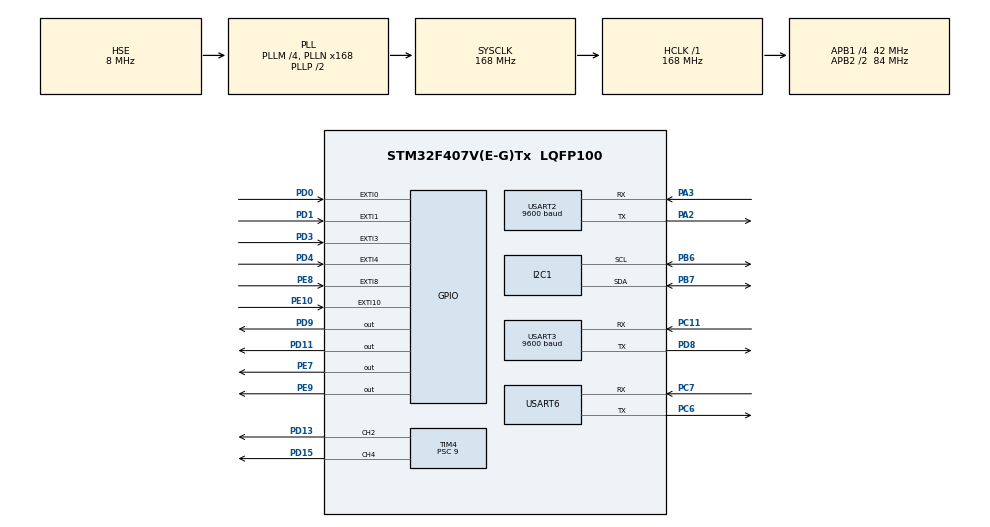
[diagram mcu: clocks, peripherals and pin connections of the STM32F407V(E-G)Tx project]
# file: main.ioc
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Dma.Request0=USART3_RX
Dma.Request1=USART2_RX
Dma.USART2_RX.1.Direction=DMA_PERIPH_TO_MEMORY
Dma.USART2_RX.1.FIFOMode=DMA_FIFOMODE_DISABLE
Dma.USART2_RX.1.Instance=DMA1_Stream5
Dma.USART2_RX.1.MemDataAlignment=DMA_MDATAALIGN_BYTE
Dma.USART2_RX.1.MemInc=DMA_MINC_ENABLE
Dma.USART2_RX.1.Mode=DMA_NORMAL
Dma.USART2_RX.1.PeriphDataAlignment=DMA_PDATAALIGN_BYTE
Dma.USART2_RX.1.PeriphInc=DMA_PINC_DISABLE
Dma.USART2_RX.1.Priority=DMA_PRIORITY_HIGH
Dma.USART3_RX.0.Direction=DMA_PERIPH_TO_MEMORY
Dma.USART3_RX.0.FIFOMode=DMA_FIFOMODE_DISABLE
Dma.USART3_RX.0.Instance=DMA1_Stream1
Dma.USART3_RX.0.MemDataAlignment=DMA_MDATAALIGN_BYTE
Dma.USART3_RX.0.MemInc=DMA_MINC_ENABLE
Dma.USART3_RX.0.Mode=DMA_NORMAL
Dma.USART3_RX.0.PeriphDataAlignment=DMA_PDATAALIGN_BYTE
Dma.USART3_RX.0.PeriphInc=DMA_PINC_DISABLE
Dma.USART3_RX.0.Priority=DMA_PRIORITY_HIGH
I2C1.I2C_Mode=I2C_Fast
Mcu.Family=STM32F4
Mcu.Name=STM32F407V(E-G)Tx
Mcu.Package=LQFP100
NVIC.DMA1_Stream1_IRQn=true\:0\:0\:false\:false\:true\:false
NVIC.DMA1_Stream5_IRQn=true\:0\:0\:false\:false\:true\:false
NVIC.EXTI0_IRQn=true\:1\:0\:true\:false\:true\:true
NVIC.EXTI15_10_IRQn=true\:0\:0\:false\:false\:true\:true
NVIC.EXTI1_IRQn=true\:1\:0\:true\:false\:true\:true
NVIC.EXTI3_IRQn=true\:1\:0\:true\:false\:true\:true
NVIC.EXTI4_IRQn=true\:1\:0\:true\:false\:true\:true
NVIC.EXTI9_5_IRQn=true\:0\:0\:false\:false\:true\:true
NVIC.PriorityGroup=NVIC_PRIORITYGROUP_4
NVIC.TIM2_IRQn=true\:0\:0\:false\:false\:true\:true
NVIC.TIM3_IRQn=true\:0\:0\:false\:false\:true\:true
NVIC.USART3_IRQn=true\:0\:0\:false\:false\:true\:true
PA2.Mode=Asynchronous
PA2.Signal=USART2_TX
PA3.Mode=Asynchronous
PA3.Signal=USART2_RX
PB6.Mode=I2C
PB6.Signal=I2C1_SCL
PB7.Mode=I2C
PB7.Signal=I2C1_SDA
PC11.Mode=Asynchronous
PC11.Signal=USART3_RX
PC6.Mode=Asynchronous
PC6.Signal=USART6_TX
PC7.Mode=Asynchronous
PC7.Signal=USART6_RX
PD0.GPIO_ModeDefaultEXTI=GPIO_MODE_IT_RISING_FALLING
PD0.Signal=GPXTI0
PD1.GPIO_ModeDefaultEXTI=GPIO_MODE_IT_RISING_FALLING
PD1.Signal=GPXTI1
PD11.Signal=GPIO_Output
PD13.Signal=S_TIM4_CH2
PD15.Signal=S_TIM4_CH4
PD3.GPIO_ModeDefaultEXTI=GPIO_MODE_IT_RISING_FALLING
PD3.Signal=GPXTI3
PD4.GPIO_ModeDefaultEXTI=GPIO_MODE_IT_RISING_FALLING
PD4.Signal=GPXTI4
PD8.Mode=Asynchronous
PD8.Signal=USART3_TX
PD9.Signal=GPIO_Output
PE10.GPIO_ModeDefaultEXTI=GPIO_MODE_IT_FALLING
PE10.Signal=GPXTI10
PE7.Signal=GPIO_Output
PE8.GPIO_ModeDefaultEXTI=GPIO_MODE_IT_FALLING
PE8.Signal=GPXTI8
PE9.Signal=GPIO_Output
PH0-OSC_IN.Mode=HSE-External-Oscillator
PH0-OSC_IN.Signal=RCC_OSC_IN
PH1-OSC_OUT.Mode=HSE-External-Oscillator
PH1-OSC_OUT.Signal=RCC_OSC_OUT
ProjectManager.HeapSize=0x200
ProjectManager.StackSize=0x400
ProjectManager.TargetToolchain=MDK-ARM V5
RCC.48MHZClocksFreq_Value=84000000
RCC.AHBFreq_Value=168000000
RCC.APB1CLKDivider=RCC_HCLK_DIV4
RCC.APB1Freq_Value=42000000
RCC.APB1TimFreq_Value=84000000
RCC.APB2CLKDivider=RCC_HCLK_DIV2
RCC.APB2Freq_Value=84000000
RCC.APB2TimFreq_Value=168000000
RCC.CortexFreq_Value=168000000
RCC.HCLKFreq_Value=168000000
RCC.HSE_VALUE=8000000
RCC.HSI_VALUE=16000000
RCC.LSE_VALUE=32768
RCC.PLLM=4
RCC.PLLN=168
RCC.PLLSourceVirtual=RCC_PLLSOURCE_HSE
RCC.SYSCLKFreq_VALUE=168000000
RCC.SYSCLKSource=RCC_SYSCLKSOURCE_PLLCLK
RCC.VCOOutputFreq_Value=336000000
SH.S_TIM4_CH2.0=TIM4_CH2,PWM Generation2 CH2
SH.S_TIM4_CH4.0=TIM4_CH4,PWM Generation4 CH4
TIM2.Period=19
TIM2.Prescaler=41999
TIM3.Period=7
TIM3.Prescaler=41999
TIM4.Channel-PWM\ Generation2\ CH2=TIM_CHANNEL_2
TIM4.Channel-PWM\ Generation4\ CH4=TIM_CHANNEL_4
TIM4.Period=419
TIM4.Prescaler=9
USART2.BaudRate=9600
USART2.VirtualMode=VM_ASYNC
USART3.BaudRate=9600
USART3.VirtualMode=VM_ASYNC
USART6.VirtualMode=VM_ASYNC
VP_TIM2_VS_ClockSourceINT.Mode=Internal
VP_TIM3_VS_ClockSourceINT.Mode=Internal
board=custom

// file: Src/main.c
/**
  ******************************************************************************
  * @file           : main.c
  * @brief          : Main program body
  ******************************************************************************
  ** This notice applies to any and all portions of this file
  * that are not between comment pairs USER CODE BEGIN and
  * USER CODE END. Other portions of this file, whether
  * inserted by the user or by software development tools
  * are owned by their respective copyright owners.
  *
  * COPYRIGHT(c) 2019 STMicroelectronics
  *
  * Redistribution and use in source and binary forms, with or without modification,
  * are permitted provided that the following conditions are met:
  *   1. Redistributions of source code must retain the above copyright notice,
  *      this list of conditions and the following disclaimer.
  *   2. Redistributions in binary form must reproduce the above copyright notice,
  *      this list of conditions and the following disclaimer in the documentation
  *      and/or other materials provided with the distribution.
  *   3. Neither the name of STMicroelectronics nor the names of its contributors
  *      may be used to endorse or promote products derived from this software
  *      without specific prior written permission.
  *
  * THIS SOFTWARE IS PROVIDED BY THE COPYRIGHT HOLDERS AND CONTRIBUTORS "AS IS"
  * AND ANY EXPRESS OR IMPLIED WARRANTIES, INCLUDING, BUT NOT LIMITED TO, THE
  * IMPLIED WARRANTIES OF MERCHANTABILITY AND FITNESS FOR A PARTICULAR PURPOSE ARE
  * DISCLAIMED. IN NO EVENT SHALL THE COPYRIGHT HOLDER OR CONTRIBUTORS BE LIABLE
  * FOR ANY DIRECT, INDIRECT, INCIDENTAL, SPECIAL, EXEMPLARY, OR CONSEQUENTIAL
  * DAMAGES (INCLUDING, BUT NOT LIMITED TO, PROCUREMENT OF SUBSTITUTE GOODS OR
  * SERVICES; LOSS OF USE, DATA, OR PROFITS; OR BUSINESS INTERRUPTION) HOWEVER
  * CAUSED AND ON ANY THEORY OF LIABILITY, WHETHER IN CONTRACT, STRICT LIABILITY,
  * OR TORT (INCLUDING NEGLIGENCE OR OTHERWISE) ARISING IN ANY WAY OUT OF THE USE
  * OF THIS SOFTWARE, EVEN IF ADVISED OF THE POSSIBILITY OF SUCH DAMAGE.
  *
  ******************************************************************************
  */
#include "main.h"
#include "stm32f4xx_hal.h"

/* USER CODE BEGIN Includes */
#include "NeoM8N.h"
#include "getChar.h"
#include "MPU9250.h"
#include "P2P_Algorithm.h"
#include <string.h>
#include <stdint.h>
#include <stdio.h>
#include "math.h"
/* USER CODE END Includes */

I2C_HandleTypeDef hi2c1;

TIM_HandleTypeDef htim2;
TIM_HandleTypeDef htim3;
TIM_HandleTypeDef htim4;

UART_HandleTypeDef huart2;
UART_HandleTypeDef huart3;
UART_HandleTypeDef huart6;
DMA_HandleTypeDef hdma_usart2_rx;
DMA_HandleTypeDef hdma_usart3_rx;

/* USER CODE BEGIN PV */
/* Private variables ---------------------------------------------------------*/
//char data[120];
float t_1 = 10.851287 ; //10.839892;
float t_2 = 106.651787 ; //106.670067;
//float t_3 =  10.851229 ; //10.85124 ;
//float t_4 =  106.651794; //106.651808;
//10.851287, 106.651787

//10.851229, 106.651794

float				z;
float			z1;
float				x;
float			x1;
double 			disp2p;
double angle=0;
int st;
//char data_receive[22]={0};
char data_receive[15];
char data_receive_2;
//double bearing_;
//double kc;
//move_to MOVE;
//float z2 = 10.839890; //10.839892, 106.670067 // 35m
//float x2 = 106.670098 ;

//float z2 = 10.838784; //10.839892, 106.670067 // 35m
//float x2 = 106.671440  ;

char data_send[21];
double z2,x2; //truyen tu C#
MY_MPU9250	IMU;
float roll,	pitch,	yaw,yaw_heading;
float time;
int _i1;

int32_t xung_l = 0;
int32_t xung_r = 0;
uint8_t state_r = 0 ; // trang thai hien tai cua encoder
uint8_t state_l = 0;
//bien tam gan cho encoder
uint8_t _a=0;
uint8_t _b=0;
uint8_t _c=0;
uint8_t _d=0;
uint8_t prestate_r = 0; // trang thai truoc cua encoder
uint8_t prestate_l = 0;
//xung cho timer2 pwm CH2-CH4
int32_t pulse_l = 0;
int32_t pulse_r = 0;
//pwm cho CH2 - CH4
int16_t duty_l = 0;
int16_t duty_r = 0;
float data_x=0.0f,data_y=0.0f,test;
float new_delta_angel;
/* USER CODE END PV */

void SystemClock_Config(void);
static void MX_GPIO_Init(void);
static void MX_DMA_Init(void);
static void MX_I2C1_Init(void);
static void MX_TIM2_Init(void);
static void MX_TIM4_Init(void);
static void MX_USART3_UART_Init(void);
static void MX_USART6_UART_Init(void);
static void MX_TIM3_Init(void);
static void MX_USART2_UART_Init(void);

void HAL_TIM_MspPostInit(TIM_HandleTypeDef *htim);

/* USER CODE BEGIN PFP */
/* Private function prototypes -----------------------------------------------*/

/* USER CODE END PFP */

int main(void)

	{

  /* MCU Configuration----------------------------------------------------------*/

  /* Reset of all peripherals, Initializes the Flash interface and the Systick. */
  HAL_Init();

  /* Configure the system clock */
  SystemClock_Config();

  /* Initialize all configured peripherals */
  MX_GPIO_Init();
  MX_DMA_Init();
  MX_I2C1_Init();
  MX_TIM2_Init();
  MX_TIM4_Init();
  MX_USART3_UART_Init();
  MX_USART6_UART_Init();
  MX_TIM3_Init();
  MX_USART2_UART_Init();
  /* USER CODE BEGIN 2 */
	//right
	HAL_GPIO_WritePin(GPIOE, GPIO_PIN_7, GPIO_PIN_RESET);
	HAL_GPIO_WritePin(GPIOE, GPIO_PIN_9, GPIO_PIN_SET);
	//left
	HAL_Delay(100);
	HAL_GPIO_WritePin(GPIOD, GPIO_PIN_9, GPIO_PIN_SET);
	HAL_GPIO_WritePin(GPIOD, GPIO_PIN_11, GPIO_PIN_RESET);
	GPS_Init(&huart3);

	MPU9250_Init_All(&hi2c1);
//	MPU9250_Read_All(&hi2c1);
	MPU9250_Calib_Gyro(&hi2c1);
	MPU9250_Calib_Mag(&hi2c1);

	//HAL_UART_Receive_DMA(&huart2,(uint8_t*)data_receive,sizeof(data_receive));
	//HAL_UART_Transmit(&huart2,(uint8_t*)data_send,sizeof(data_send),1000);
	//HAL_UART_Receive(&huart6,(uint8_t*)data_receive,sizeof(data_receive),1000);

	HAL_UART_Receive(&huart6,(uint8_t*)data_receive,sizeof(data_receive),1000);
	memset(&data_receive,'0',sizeof(data_receive));
	HAL_TIM_PWM_Start(&htim4, TIM_CHANNEL_4);
	HAL_Delay(100);
	HAL_TIM_PWM_Start(&htim4, TIM_CHANNEL_2);

	HAL_TIM_Base_Start_IT(&htim3);
	HAL_Delay(10);
	HAL_TIM_Base_Start_IT(&htim2); //for send data
  /* USER CODE END 2 */

  /* Infinite loop */
  while (1)
  {

  /* USER CODE BEGIN 3 */
		//MPU9250_Get_Angles(&hi2c1,&yaw,&pitch,&roll);

//
//		data_receive_2 = data_receive[0];
//		sscanf(data_receive,"%c %f %f",&data_receive_2,&data_x,&data_y);
//		HAL_UART_Receive(&huart6,(uint8_t*)data_receive,sizeof(data_receive),1000);
			data_receive_2 = data_receive[0];
			sscanf(data_receive,"%c %f %f",&data_receive_2,&data_x,&data_y);
			HAL_UART_Receive(&huart6,(uint8_t*)data_receive,sizeof(data_receive),1000);

		//yaw_heading=-yaw+180.0f;
//		HAL_Delay(2000);
//			//duty_l = PID_L(40,pulse_l);
//		__HAL_TIM_SET_COMPARE(&htim4, TIM_CHANNEL_2, 0);
//	//	duty_r = PID_R(40,pulse_r);
//			__HAL_TIM_SET_COMPARE(&htim4, TIM_CHANNEL_4, 0);

	//	angle = bearing_Angle(z,x,z2,x2);
		//disp2p = distanceBetween(z,x,z2,x2); // chay dc

		//angle = bearing_Angle(z,x,t_3,t_4);
		//disp2p = distanceBetween(z,x,t_3,t_4); // chay dc

//		if(z== 0 || x==0){
//			angle = 0;
//			disp2p = 0;
//		}
  }
  /* USER CODE END 3 */

}

void SystemClock_Config(void)
{

  RCC_OscInitTypeDef RCC_OscInitStruct;
  RCC_ClkInitTypeDef RCC_ClkInitStruct;

    /**Configure the main internal regulator output voltage
    */
  __HAL_RCC_PWR_CLK_ENABLE();

  __HAL_PWR_VOLTAGESCALING_CONFIG(PWR_REGULATOR_VOLTAGE_SCALE1);

    /**Initializes the CPU, AHB and APB busses clocks
    */
  RCC_OscInitStruct.OscillatorType = RCC_OSCILLATORTYPE_HSE;
  RCC_OscInitStruct.HSEState = RCC_HSE_ON;
  RCC_OscInitStruct.PLL.PLLState = RCC_PLL_ON;
  RCC_OscInitStruct.PLL.PLLSource = RCC_PLLSOURCE_HSE;
  RCC_OscInitStruct.PLL.PLLM = 4;
  RCC_OscInitStruct.PLL.PLLN = 168;
  RCC_OscInitStruct.PLL.PLLP = RCC_PLLP_DIV2;
  RCC_OscInitStruct.PLL.PLLQ = 4;
  if (HAL_RCC_OscConfig(&RCC_OscInitStruct) != HAL_OK)
  {
    _Error_Handler(__FILE__, __LINE__);
  }

    /**Initializes the CPU, AHB and APB busses clocks
    */
  RCC_ClkInitStruct.ClockType = RCC_CLOCKTYPE_HCLK|RCC_CLOCKTYPE_SYSCLK
                              |RCC_CLOCKTYPE_PCLK1|RCC_CLOCKTYPE_PCLK2;
  RCC_ClkInitStruct.SYSCLKSource = RCC_SYSCLKSOURCE_PLLCLK;
  RCC_ClkInitStruct.AHBCLKDivider = RCC_SYSCLK_DIV1;
  RCC_ClkInitStruct.APB1CLKDivider = RCC_HCLK_DIV4;
  RCC_ClkInitStruct.APB2CLKDivider = RCC_HCLK_DIV2;

  if (HAL_RCC_ClockConfig(&RCC_ClkInitStruct, FLASH_LATENCY_5) != HAL_OK)
  {
    _Error_Handler(__FILE__, __LINE__);
  }

    /**Configure the Systick interrupt time
    */
  HAL_SYSTICK_Config(HAL_RCC_GetHCLKFreq()/1000);

    /**Configure the Systick
    */
  HAL_SYSTICK_CLKSourceConfig(SYSTICK_CLKSOURCE_HCLK);

  /* SysTick_IRQn interrupt configuration */
  HAL_NVIC_SetPriority(SysTick_IRQn, 0, 0);
}

/* I2C1 init function */
static void MX_I2C1_Init(void)
{

  hi2c1.Instance = I2C1;
  hi2c1.Init.ClockSpeed = 400000;
  hi2c1.Init.DutyCycle = I2C_DUTYCYCLE_2;
  hi2c1.Init.OwnAddress1 = 0;
  hi2c1.Init.AddressingMode = I2C_ADDRESSINGMODE_7BIT;
  hi2c1.Init.DualAddressMode = I2C_DUALADDRESS_DISABLE;
  hi2c1.Init.OwnAddress2 = 0;
  hi2c1.Init.GeneralCallMode = I2C_GENERALCALL_DISABLE;
  hi2c1.Init.NoStretchMode = I2C_NOSTRETCH_DISABLE;
  if (HAL_I2C_Init(&hi2c1) != HAL_OK)
  {
    _Error_Handler(__FILE__, __LINE__);
  }

}

/* TIM2 init function */
static void MX_TIM2_Init(void)
{

  TIM_ClockConfigTypeDef sClockSourceConfig;
  TIM_MasterConfigTypeDef sMasterConfig;

  htim2.Instance = TIM2;
  htim2.Init.Prescaler = 41999;
  htim2.Init.CounterMode = TIM_COUNTERMODE_UP;
  htim2.Init.Period = 19;
  htim2.Init.ClockDivision = TIM_CLOCKDIVISION_DIV1;
  if (HAL_TIM_Base_Init(&htim2) != HAL_OK)
  {
    _Error_Handler(__FILE__, __LINE__);
  }

  sClockSourceConfig.ClockSource = TIM_CLOCKSOURCE_INTERNAL;
  if (HAL_TIM_ConfigClockSource(&htim2, &sClockSourceConfig) != HAL_OK)
  {
    _Error_Handler(__FILE__, __LINE__);
  }

  sMasterConfig.MasterOutputTrigger = TIM_TRGO_RESET;
  sMasterConfig.MasterSlaveMode = TIM_MASTERSLAVEMODE_DISABLE;
  if (HAL_TIMEx_MasterConfigSynchronization(&htim2, &sMasterConfig) != HAL_OK)
  {
    _Error_Handler(__FILE__, __LINE__);
  }

}

/* TIM3 init function */
static void MX_TIM3_Init(void)
{

  TIM_ClockConfigTypeDef sClockSourceConfig;
  TIM_MasterConfigTypeDef sMasterConfig;

  htim3.Instance = TIM3;
  htim3.Init.Prescaler = 41999;
  htim3.Init.CounterMode = TIM_COUNTERMODE_UP;
  htim3.Init.Period = 7;
  htim3.Init.ClockDivision = TIM_CLOCKDIVISION_DIV1;
  if (HAL_TIM_Base_Init(&htim3) != HAL_OK)
  {
    _Error_Handler(__FILE__, __LINE__);
  }

  sClockSourceConfig.ClockSource = TIM_CLOCKSOURCE_INTERNAL;
  if (HAL_TIM_ConfigClockSource(&htim3, &sClockSourceConfig) != HAL_OK)
  {
    _Error_Handler(__FILE__, __LINE__);
  }

  sMasterConfig.MasterOutputTrigger = TIM_TRGO_RESET;
  sMasterConfig.MasterSlaveMode = TIM_MASTERSLAVEMODE_DISABLE;
  if (HAL_TIMEx_MasterConfigSynchronization(&htim3, &sMasterConfig) != HAL_OK)
  {
    _Error_Handler(__FILE__, __LINE__);
  }

}

/* TIM4 init function */
static void MX_TIM4_Init(void)
{

  TIM_MasterConfigTypeDef sMasterConfig;
  TIM_OC_InitTypeDef sConfigOC;

  htim4.Instance = TIM4;
  htim4.Init.Prescaler = 9;
  htim4.Init.CounterMode = TIM_COUNTERMODE_UP;
  htim4.Init.Period = 419;
  htim4.Init.ClockDivision = TIM_CLOCKDIVISION_DIV1;
  if (HAL_TIM_PWM_Init(&htim4) != HAL_OK)
  {
    _Error_Handler(__FILE__, __LINE__);
  }

  sMasterConfig.MasterOutputTrigger = TIM_TRGO_RESET;
  sMasterConfig.MasterSlaveMode = TIM_MASTERSLAVEMODE_DISABLE;
  if (HAL_TIMEx_MasterConfigSynchronization(&htim4, &sMasterConfig) != HAL_OK)
  {
    _Error_Handler(__FILE__, __LINE__);
  }

  sConfigOC.OCMode = TIM_OCMODE_PWM1;
  sConfigOC.Pulse = 0;
  sConfigOC.OCPolarity = TIM_OCPOLARITY_HIGH;
  sConfigOC.OCFastMode = TIM_OCFAST_DISABLE;
  if (HAL_TIM_PWM_ConfigChannel(&htim4, &sConfigOC, TIM_CHANNEL_2) != HAL_OK)
  {
    _Error_Handler(__FILE__, __LINE__);
  }

  if (HAL_TIM_PWM_ConfigChannel(&htim4, &sConfigOC, TIM_CHANNEL_4) != HAL_OK)
  {
    _Error_Handler(__FILE__, __LINE__);
  }

  HAL_TIM_MspPostInit(&htim4);

}

/* USART2 init function */
static void MX_USART2_UART_Init(void)
{

  huart2.Instance = USART2;
  huart2.Init.BaudRate = 9600;
  huart2.Init.WordLength = UART_WORDLENGTH_8B;
  huart2.Init.StopBits = UART_STOPBITS_1;
  huart2.Init.Parity = UART_PARITY_NONE;
  huart2.Init.Mode = UART_MODE_TX_RX;
  huart2.Init.HwFlowCtl = UART_HWCONTROL_NONE;
  huart2.Init.OverSampling = UART_OVERSAMPLING_16;
  if (HAL_UART_Init(&huart2) != HAL_OK)
  {
    _Error_Handler(__FILE__, __LINE__);
  }

}

/* USART3 init function */
static void MX_USART3_UART_Init(void)
{

  huart3.Instance = USART3;
  huart3.Init.BaudRate = 9600;
  huart3.Init.WordLength = UART_WORDLENGTH_8B;
  huart3.Init.StopBits = UART_STOPBITS_1;
  huart3.Init.Parity = UART_PARITY_NONE;
  huart3.Init.Mode = UART_MODE_TX_RX;
  huart3.Init.HwFlowCtl = UART_HWCONTROL_NONE;
  huart3.Init.OverSampling = UART_OVERSAMPLING_16;
  if (HAL_UART_Init(&huart3) != HAL_OK)
  {
    _Error_Handler(__FILE__, __LINE__);
  }

}

/* USART6 init function */
static void MX_USART6_UART_Init(void)
{

  huart6.Instance = USART6;
  huart6.Init.BaudRate = 115200;
  huart6.Init.WordLength = UART_WORDLENGTH_8B;
  huart6.Init.StopBits = UART_STOPBITS_1;
  huart6.Init.Parity = UART_PARITY_NONE;
  huart6.Init.Mode = UART_MODE_TX_RX;
  huart6.Init.HwFlowCtl = UART_HWCONTROL_NONE;
  huart6.Init.OverSampling = UART_OVERSAMPLING_16;
  if (HAL_UART_Init(&huart6) != HAL_OK)
  {
    _Error_Handler(__FILE__, __LINE__);
  }

}

static void MX_DMA_Init(void)
{
  /* DMA controller clock enable */
  __HAL_RCC_DMA1_CLK_ENABLE();

  /* DMA interrupt init */
  /* DMA1_Stream1_IRQn interrupt configuration */
  HAL_NVIC_SetPriority(DMA1_Stream1_IRQn, 0, 0);
  HAL_NVIC_EnableIRQ(DMA1_Stream1_IRQn);
  /* DMA1_Stream5_IRQn interrupt configuration */
  HAL_NVIC_SetPriority(DMA1_Stream5_IRQn, 0, 0);
  HAL_NVIC_EnableIRQ(DMA1_Stream5_IRQn);

}

/** Configure pins as
        * Analog
        * Input
        * Output
        * EVENT_OUT
        * EXTI
*/
static void MX_GPIO_Init(void)
{

  GPIO_InitTypeDef GPIO_InitStruct;

  /* GPIO Ports Clock Enable */
  __HAL_RCC_GPIOH_CLK_ENABLE();
  __HAL_RCC_GPIOA_CLK_ENABLE();
  __HAL_RCC_GPIOE_CLK_ENABLE();
  __HAL_RCC_GPIOD_CLK_ENABLE();
  __HAL_RCC_GPIOC_CLK_ENABLE();
  __HAL_RCC_GPIOB_CLK_ENABLE();

  /*Configure GPIO pin Output Level */
  HAL_GPIO_WritePin(GPIOE, GPIO_PIN_7|GPIO_PIN_9, GPIO_PIN_RESET);

  /*Configure GPIO pin Output Level */
  HAL_GPIO_WritePin(GPIOD, GPIO_PIN_9|GPIO_PIN_11, GPIO_PIN_RESET);

  /*Configure GPIO pins : PE7 PE9 */
  GPIO_InitStruct.Pin = GPIO_PIN_7|GPIO_PIN_9;
  GPIO_InitStruct.Mode = GPIO_MODE_OUTPUT_PP;
  GPIO_InitStruct.Pull = GPIO_NOPULL;
  GPIO_InitStruct.Speed = GPIO_SPEED_FREQ_LOW;
  HAL_GPIO_Init(GPIOE, &GPIO_InitStruct);

  /*Configure GPIO pins : PE8 PE10 */
  GPIO_InitStruct.Pin = GPIO_PIN_8|GPIO_PIN_10;
  GPIO_InitStruct.Mode = GPIO_MODE_IT_FALLING;
  GPIO_InitStruct.Pull = GPIO_NOPULL;
  HAL_GPIO_Init(GPIOE, &GPIO_InitStruct);

  /*Configure GPIO pins : PD9 PD11 */
  GPIO_InitStruct.Pin = GPIO_PIN_9|GPIO_PIN_11;
  GPIO_InitStruct.Mode = GPIO_MODE_OUTPUT_PP;
  GPIO_InitStruct.Pull = GPIO_NOPULL;
  GPIO_InitStruct.Speed = GPIO_SPEED_FREQ_LOW;
  HAL_GPIO_Init(GPIOD, &GPIO_InitStruct);

  /*Configure GPIO pins : PD0 PD1 PD3 PD4 */
  GPIO_InitStruct.Pin = GPIO_PIN_0|GPIO_PIN_1|GPIO_PIN_3|GPIO_PIN_4;
  GPIO_InitStruct.Mode = GPIO_MODE_IT_RISING_FALLING;
  GPIO_InitStruct.Pull = GPIO_NOPULL;
  HAL_GPIO_Init(GPIOD, &GPIO_InitStruct);

  /* EXTI interrupt init*/
  HAL_NVIC_SetPriority(EXTI0_IRQn, 1, 0);
  HAL_NVIC_EnableIRQ(EXTI0_IRQn);

  HAL_NVIC_SetPriority(EXTI1_IRQn, 1, 0);
  HAL_NVIC_EnableIRQ(EXTI1_IRQn);

  HAL_NVIC_SetPriority(EXTI3_IRQn, 1, 0);
  HAL_NVIC_EnableIRQ(EXTI3_IRQn);

  HAL_NVIC_SetPriority(EXTI4_IRQn, 1, 0);
  HAL_NVIC_EnableIRQ(EXTI4_IRQn);

  HAL_NVIC_SetPriority(EXTI9_5_IRQn, 0, 0);
  HAL_NVIC_EnableIRQ(EXTI9_5_IRQn);

  HAL_NVIC_SetPriority(EXTI15_10_IRQn, 0, 0);
  HAL_NVIC_EnableIRQ(EXTI15_10_IRQn);

}

/* USER CODE BEGIN 4 */
void HAL_UART_RxCpltCallback(UART_HandleTypeDef *huart)
{
//	if (huart->Instance==huart3.Instance)
//	{
//		GPS_CallBack(&huart3);
//	}
//  if (huart->Instance==huart2.Instance)
//	{
//		st=1;
//		HAL_UART_Receive_DMA(&huart2,(uint8_t*)data_receive,sizeof(data_receive));
//		z2 = _getLat2(data_receive);
//		x2 = _getLong2(data_receive);
//		//_i1 = 0;
//		//memset(&data_send,0,sizeof(data_send));
//		HAL_UART_Transmit(&huart2,(uint8_t*)data_send,strlen(data_send),1000);
//		//HAL_Delay(1000);
//	//	HAL_UART_Transmit(&huart2,(uint8_t*)data_send,sizeof(data_send),1000);
//
//			//HAL_UART_Transmit(&huart1,(uint8_t*)data_send,strlen(data_send),1000);
//
//	}
	if (huart->Instance==huart6.Instance)
	{

			sscanf(data_receive,"%c %f %f",&data_receive_2,&data_x,&data_y);
			HAL_UART_Receive(&huart6,(uint8_t*)data_receive,sizeof(data_receive),1000);
				if(data_receive_2 == '0')
			{
				data_x = 0.0f;
				data_y = 0.0f;
				//data_receive[]={'0'};
				memset(&data_receive,0,sizeof(data_receive));

			}

	}
}

void TIM3_IRQHandler(void)
{
	//MPU9250_Get_Angles(&hi2c1,&yaw,&pitch,&roll);
	//MPU9250_Angles_Update(&hi2c1,&IMU);
	MPU9250_Get_Angles(&hi2c1,&yaw,&pitch,&roll);

		//_i1++;
//	if(_i1 == 300){
//			sprintf(data_send,"%.6f %.6f\r\n",t_1,t_2); //FOR TEST
//			//sprintf(data_send,"%0.6f %0.6f\r\n",z,x);
//			HAL_UART_Transmit(&huart2,(uint8_t*)data_send,sizeof(data_send),1000);
//			_i1=0;
//	}
//		if(data_receive[0] == '0'){
//			data_x = 0.0f;
//			data_y = 0.0f;
//			memset(&data_receive,'0',sizeof(data_receive));
//		}
//	_i1++;
//	data_receive_2 = data_receive[0];
//		if(_i1 >= 100){
//
//				sscanf(data_receive,"%c %f %f",&data_receive_2,&data_x,&data_y);
//				HAL_UART_Receive(&huart6,(uint8_t*)data_receive,sizeof(data_receive),1000);
//			_i1=0;
//	}

		//if (yaw < 0) yaw += 360;
		// this command do not edit and put it in the last line of this void
	HAL_TIM_IRQHandler(&htim3);
}
void TIM2_IRQHandler(void)
{
  /* USER CODE BEGIN TIM2_IRQn 0 */

  /* USER CODE END TIM2_IRQn 0 */

//	_i1++;
//	if(_i1 == 100){
//			sprintf(data_send,"%.6f %.6f\r\n",t_1,t_2); //FOR TEST
//			//sprintf(data_send,"%0.6f %0.6f\r\n",z,x);
//			HAL_UART_Transmit(&huart2,(uint8_t*)data_send,sizeof(data_send),1000);
//			_i1=0;
//	}
	pulse_l = xung_l;
	xung_l = 0; // reset lai encoder left
	pulse_r = xung_r;
	xung_r = 0; // reset lai encoder right
	if(data_x>180.0f){
		yaw_heading=-yaw+180.0f;
	}
	else {
		yaw_heading=-yaw+9.183f;
	}
//	new_delta_angel = fabs (data_x - yaw_heading);	if(new_delta_angel <20){
//		duty_l = PID_L(32.5,pulse_l);
//		__HAL_TIM_SET_COMPARE(&htim4, TIM_CHANNEL_2, duty_l);
//		duty_r = PID_R(33,pulse_r);
//		__HAL_TIM_SET_COMPARE(&htim4, TIM_CHANNEL_4, duty_r);
//	}
//	if(data_y < 5.0f) {
//		//duty_l = PID_L(40,pulse_l);
//		__HAL_TIM_SET_COMPARE(&htim4, TIM_CHANNEL_2, 0);
//	//	duty_r = PID_R(40,pulse_r);
//		__HAL_TIM_SET_COMPARE(&htim4, TIM_CHANNEL_4, 0);
//	}
//

//		duty_l = PID_L(32.5,pulse_l);
//		__HAL_TIM_SET_COMPARE(&htim4, TIM_CHANNEL_2, duty_l);
//		duty_r = PID_R(33,pulse_r);
//		__HAL_TIM_SET_COMPARE(&htim4, TIM_CHANNEL_4, duty_r);

  HAL_TIM_IRQHandler(&htim2);
  /* USER CODE BEGIN TIM2_IRQn 1 */

  /* USER CODE END TIM2_IRQn 1 */
}

void EXTI3_IRQHandler(void)
{

	if (HAL_GPIO_ReadPin(GPIOD, GPIO_PIN_3)==GPIO_PIN_SET)
		_a=1;
	else
		_a=0;
	if (HAL_GPIO_ReadPin(GPIOD, GPIO_PIN_4)==GPIO_PIN_SET)
		_b=1;
	else
		_b=0;
	state_l=(state_l<<1)|_a;
	state_l=(state_l<<1)|_b;
	state_l=state_l&0x03;
	switch (state_l)
		{
		case 0:
			if(prestate_l==1) xung_l++;
			else xung_l--;
		break;
		case 1:
			if(prestate_l==3) xung_l++;
			else xung_l--;
		break;
			case 2:
			if(prestate_l==0) xung_l++;
			else xung_l--;
			break;
			case 3:
			if(prestate_l==2) xung_l++;
			else xung_l--;
			break;
		}
	prestate_l=state_l;
  HAL_GPIO_EXTI_IRQHandler(GPIO_PIN_3);
}
void EXTI4_IRQHandler(void)
{

	if (HAL_GPIO_ReadPin(GPIOD, GPIO_PIN_3)==GPIO_PIN_SET)
		_a=1;
	else
		_a=0;
	if (HAL_GPIO_ReadPin(GPIOD, GPIO_PIN_4)==GPIO_PIN_SET)
		_b=1;
	else
		_b=0;
	state_l=(state_l<<1)|_a;
	state_l=(state_l<<1)|_b;
	state_l=state_l&0x03;
	switch (state_l)
		{
		case 0:
			if(prestate_l==1) xung_l++;
			else xung_l--;
		break;
		case 1:
			if(prestate_l==3) xung_l++;
			else xung_l--;
		break;
			case 2:
			if(prestate_l==0) xung_l++;
			else xung_l--;
			break;
			case 3:
			if(prestate_l==2) xung_l++;
			else xung_l--;
			break;
		}
	prestate_l=state_l;
  HAL_GPIO_EXTI_IRQHandler(GPIO_PIN_4);
}

//right wheel
//PD0 PD1 Encoder banh phai

//---for right wheel---------
void EXTI0_IRQHandler(void)
{
	if (HAL_GPIO_ReadPin(GPIOD, GPIO_PIN_0)==GPIO_PIN_SET)
		_c=1;
	else
		_c=0;
	if (HAL_GPIO_ReadPin(GPIOD, GPIO_PIN_1)==GPIO_PIN_SET)
		_d=1;
	else
		_d=0;
	state_r=(state_r<<1)|_d;
	state_r=(state_r<<1)|_c;
	state_r=state_r&0x03;
	switch (state_r)
		{
		case 0:
			if(prestate_r==1) xung_r++;
			else xung_r--;
		break;
		case 1:
			if(prestate_r==3) xung_r++;
			else xung_r--;
		break;
			case 2:
			if(prestate_r==0) xung_r++;
			else xung_r--;
			break;
			case 3:
			if(prestate_r==2) xung_r++;
			else xung_r--;
			break;
		}
	prestate_r=state_r;
  HAL_GPIO_EXTI_IRQHandler(GPIO_PIN_0);
}
void EXTI1_IRQHandler(void)
{

	if (HAL_GPIO_ReadPin(GPIOD, GPIO_PIN_0)==GPIO_PIN_SET)
		_c=1;
	else
		_c=0;
	if (HAL_GPIO_ReadPin(GPIOD, GPIO_PIN_1)==GPIO_PIN_SET)
		_d=1;
	else
		_d=0;
	state_r=(state_r<<1)|_d;
	state_r=(state_r<<1)|_c;
	state_r=state_r&0x03;
	switch (state_r)
		{
		case 0:
			if(prestate_r==1) xung_r++;
			else xung_r--;
		break;
		case 1:
			if(prestate_r==3) xung_r++;
			else xung_r--;
		break;
			case 2:
			if(prestate_r==0) xung_r++;
			else xung_r--;
			break;
			case 3:
			if(prestate_r==2) xung_r++;
			else xung_r--;
			break;
		}
	prestate_r=state_r;
  HAL_GPIO_EXTI_IRQHandler(GPIO_PIN_1);
}
/* USER CODE END 4 */

void _Error_Handler(char *file, int line)
{
  while(1)
  {
  }
}

/************************ (C) COPYRIGHT STMicroelectronics *****END OF FILE****/
